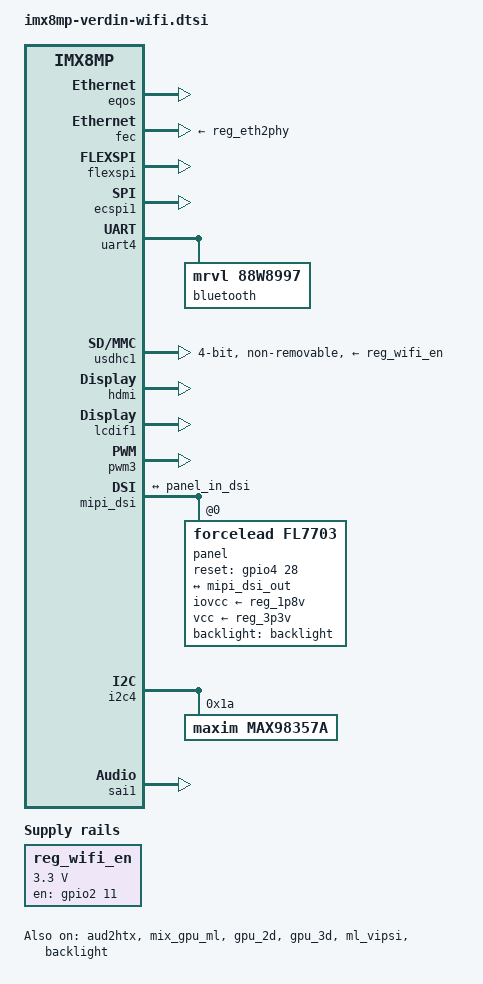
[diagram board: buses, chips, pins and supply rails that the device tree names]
// SPDX-License-Identifier: GPL-2.0-or-later OR MIT
/*
 * Copyright 2022 Toradex
 */

/ {
	reg_wifi_en: regulator-wifi-en {
		compatible = "regulator-fixed";
		enable-active-high;
		gpio = <&gpio2 11 GPIO_ACTIVE_HIGH>;
		pinctrl-names = "default";
		pinctrl-0 = <&pinctrl_wifi_pwr_en>;
		regulator-max-microvolt = <3300000>;
		regulator-min-microvolt = <3300000>;
		regulator-name = "PDn_AW-CM276NF";
		startup-delay-us = <2000>;
	};
}; 

/ {
       sound {
                compatible = "simple-audio-card";
                simple-audio-card,bitclock-master = <&codec_dai>;
                simple-audio-card,format = "i2s";
                simple-audio-card,frame-master = <&codec_dai>;
                simple-audio-card,mclk-fs = <256>;
                simple-audio-card,name = "LMI-max98357a";
                simple-audio-card,routing =
                        "Headphones", "LHP",
                        "Headphones", "RHP",
                        "Speaker", "LSPK",
                        "Speaker", "RSPK",
                        "Line Out", "AUXOUT1",
                        "Line Out", "AUXOUT2",
                        "LAUX", "Line In",
                        "RAUX", "Line In",
                        "LMICP", "Mic In",
                        "RMICP", "Mic In";
                simple-audio-card,widgets =
                        "Headphones", "Headphones",
                        "Line Out", "Line Out",
                        "Speaker", "Speaker",
                        "Microphone", "Mic In",
                        "Line", "Line In";

                codec_dai: simple-audio-card,codec {
                        clocks = <&audio_blk_ctrl IMX8MP_CLK_AUDIOMIX_SAI1_MCLK1>;
                        sound-dai = <&max98357a>;
                };

                simple-audio-card,cpu {
                        sound-dai = <&sai1>;
                };
        };

};

&eqos {
        status = "okay";
};

&fec {
        phy-supply = <&reg_eth2phy>;
        status = "okay";
};

/* Verdin QSPI_1 */
&flexspi {
        status = "okay";
};

/* Verdin HDMI_1 Audio */
&aud2htx {
        status = "okay";
};

/* Verdin SPI_1 */
&ecspi1 {
        status = "okay";
};

/* Verdin QSPI_1 */
&flexspi {
        status = "okay";
};

&gpio5 {
	gpio-line-names = "SODIMM_42",
			  "SODIMM_46",
			  "SODIMM_187",
			  "SODIMM_20",
			  "SODIMM_22",
			  "SODIMM_15",
			  "SODIMM_196",
			  "SODIMM_200",
			  "SODIMM_198",
			  "SODIMM_202",
			  "SODIMM_164",
			  "SODIMM_152",
			  "SODIMM_116",
			  "SODIMM_128",
			  "",
			  "",
			  "SODIMM_55",
			  "SODIMM_53",
			  "SODIMM_95",
			  "SODIMM_93",
			  "SODIMM_14",
			  "SODIMM_12",
			  "SODIMM_129",
			  "SODIMM_131",
			  "SODIMM_137",
			  "SODIMM_139",
			  "SODIMM_147",
			  "SODIMM_149",
			  "SODIMM_151",
			  "SODIMM_153";
};

&mix_gpu_ml {
	status="okay";
};


&iomuxc {
	pinctrl-names = "default";
	pinctrl-0 = <&pinctrl_gpio1>, <&pinctrl_gpio2>,
		    <&pinctrl_gpio3>, <&pinctrl_gpio4>,
		    <&pinctrl_gpio7>, <&pinctrl_gpio8>,
		    <&pinctrl_gpio_hog1>, <&pinctrl_gpio_hog2>, <&pinctrl_gpio_hog3>,
		    <&pinctrl_hdmi_hog>;
};

/* On-module Bluetooth */
&uart4 {
	uart-has-rtscts;
	pinctrl-names = "default";
	pinctrl-0 = <&pinctrl_bt_uart>;
	status = "okay";

	bluetooth {
		compatible = "mrvl,88w8997";
		max-speed = <921600>;
	};
};

/* On-module Wi-Fi */
&usdhc1 {
	bus-width = <4>;
	keep-power-in-suspend;
	non-removable;
	pinctrl-names = "default", "state_100mhz", "state_200mhz";
	pinctrl-0 = <&pinctrl_usdhc1>, <&pinctrl_wifi_ctrl>;
	pinctrl-1 = <&pinctrl_usdhc1_100mhz>, <&pinctrl_wifi_ctrl>;
	pinctrl-2 = <&pinctrl_usdhc1_200mhz>, <&pinctrl_wifi_ctrl>;
	vmmc-supply = <&reg_wifi_en>;
	status = "okay";
};

//for testing display

&gpu_2d {
	status = "okay";
};

&gpu_3d {
	status = "okay";
};

&ml_vipsi {
	status = "okay";
};

&mix_gpu_ml {
	status = "okay";
};

&hdmi {
	status = "okay";
};
&lcdif1 {
	status = "okay";
};

//&dss {
//	status = "okay";	
//};

/* Verdin PWM_3_DSI */
&pwm3 {
        status = "okay";
};

	&backlight {
		status = "okay";
		power-supply = <&reg_3p3v>;
		compatible = "pwm-backlight";
		//brightness-levels = <0 255 255>;//<0 4 8 16 32 64 128 255>;
		//default-brightness-level = <2>;//<64>;
	};
	
&mipi_dsi {
    #address-cells = <1>;
    #size-cells = <0>;
    status = "okay";

    ports {
      port@1 {
         reg = <1>;
         mipi_dsi_out: endpoint {
           remote-endpoint = <&panel_in_dsi>;
         };
      };
    };
    panel@0 {
        iovcc-supply = <&reg_1p8v>;
        vcc-supply = <&reg_3p3v>;
        compatible = "forcelead,fl7703";
        reg = <0>;
        dsi-lanes = <2>;
        video-mode = <2>;
        reset-gpios = <&gpio4 28 GPIO_ACTIVE_HIGH>;
        backlight = <&backlight>;
        status = "okay";
        port {
           panel_in_dsi: endpoint {
             remote-endpoint = <&mipi_dsi_out>;
           };
       };
    };
};



&i2c4 {
        status = "okay";

        /* Audio Codec */
        max98357a: audio-codec@1a {
                compatible = "maxim,max98357a";
                reg = <0x1a>;
                pinctrl-names = "default";
                pinctrl-0 = <&pinctrl_sai1>;
                #sound-dai-cells = <0>;
				status = "okay";
        };
};

/* Enabling for UART connection to PIC18 */
&uart2 {
	status = "enabled";
};

/* Verdin I2S_1 */
&sai1 {
        assigned-clocks = <&clk IMX8MP_CLK_SAI1>;
        assigned-clock-parents = <&clk IMX8MP_AUDIO_PLL1_OUT>;
        assigned-clock-rates = <24576000>;
        fsl,sai-mclk-direction-output;
        status = "okay";
};
/* Verdin HDMI_1 Audio */
&sound_hdmi {
        status = "okay";
};


/*
 * Verdin UART_4
 * Often used by the M7 and then should not be enabled here.
 * Appears to be used by bluetooth?
 */
/* &uart4 {
	status = "disabled";
};
*/
